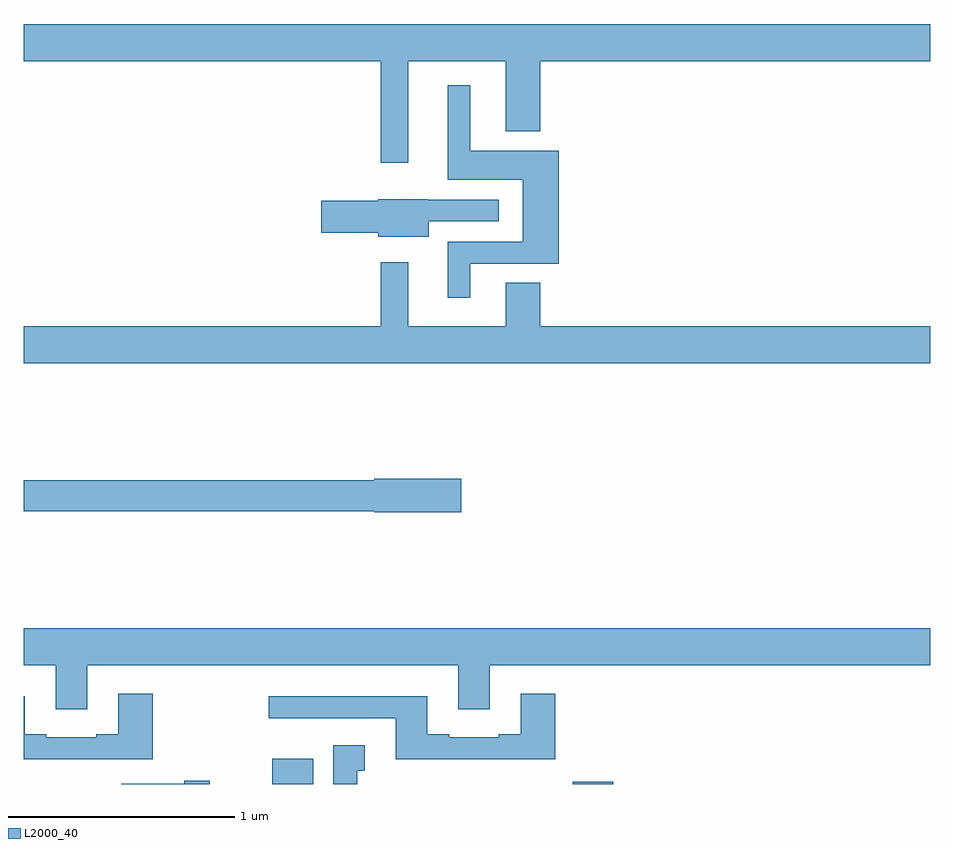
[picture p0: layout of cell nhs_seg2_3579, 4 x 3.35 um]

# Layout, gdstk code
import gdstk
lib = gdstk.Library(unit=1e-6, precision=1e-09)
def R(c, l, rs):  # rectangles x0, y0, x1, y1
    for r in rs: c.add(gdstk.rectangle(r[:2], r[2:], *l))
def P(c, l, *ps):  # polygons
    for p in ps: c.add(gdstk.Polygon(p, *l))
L2000_40 = (2000, 40)

nhs_seg2_3579 = lib.new_cell('nhs_seg2_3579')
R(nhs_seg2_3579, L2000_40, [(300.098,625.8,300.277,625.912), (301.423,625.8,301.601,625.81)])
P(nhs_seg2_3579, L2000_40, [(300.697,628.988),(301.127,628.988),(301.127,628.679),(301.28,628.679),(301.28,628.988),(303,628.988),(303,629.152),(299,629.152),(299,628.988),(300.576,628.988),(300.576,628.539),(300.697,628.539)],
  [(300.97,628.095),(301.361,628.095),(301.361,628.594),(300.97,628.594),(300.97,628.882),(300.872,628.882),(300.872,628.466),(301.202,628.466),(301.202,628.191),(300.872,628.191),(300.872,627.945),(300.97,627.945)],
  [(300.787,628.281),(301.096,628.281),(301.096,628.377),(300.783,628.377),(300.783,628.378),(300.564,628.378),(300.564,628.373),(300.312,628.373),(300.312,628.231),(300.564,628.231),(300.564,628.214),(300.787,628.214)],
  [(303,627.82),(301.28,627.82),(301.28,628.01),(301.127,628.01),(301.127,627.82),(300.697,627.82),(300.697,628.102),(300.576,628.102),(300.576,627.82),(299,627.82),(299,627.656),(303,627.656)],
  [(300.931,627.146),(300.546,627.146),(300.546,627.14),(299,627.14),(299,627.004),(300.546,627.004),(300.546,626.999),(300.931,626.999)],
  [(299.281,626.324),(300.917,626.324),(300.917,626.13),(301.057,626.13),(301.057,626.324),(303,626.324),(303,626.488),(299,626.488),(299,626.324),(299.141,626.324),(299.141,626.13),(299.281,626.13)],
  [(299.57,626.197),(299.417,626.197),(299.417,626.02),(299.321,626.02),(299.321,626.007),(299.101,626.007),(299.101,626.02),(299.005,626.02),(299.005,626.188),(299,626.188),(299,625.91),(299.57,625.91)],
  [(301.346,626.197),(301.193,626.197),(301.193,626.02),(301.097,626.02),(301.097,626.007),(300.877,626.007),(300.877,626.02),(300.781,626.02),(300.781,626.188),(300.081,626.188),(300.081,626.091),(300.641,626.091),(300.641,625.91),(301.346,625.91)],
  [(300.472,625.859),(300.505,625.859),(300.505,625.972),(300.365,625.972),(300.365,625.8),(300.472,625.8)],
  [(299.821,625.814),(299.708,625.814),(299.708,625.801),(299.432,625.801),(299.432,625.8),(299.821,625.8)])

lib.write_gds('nhs_seg2_3579.gds')
